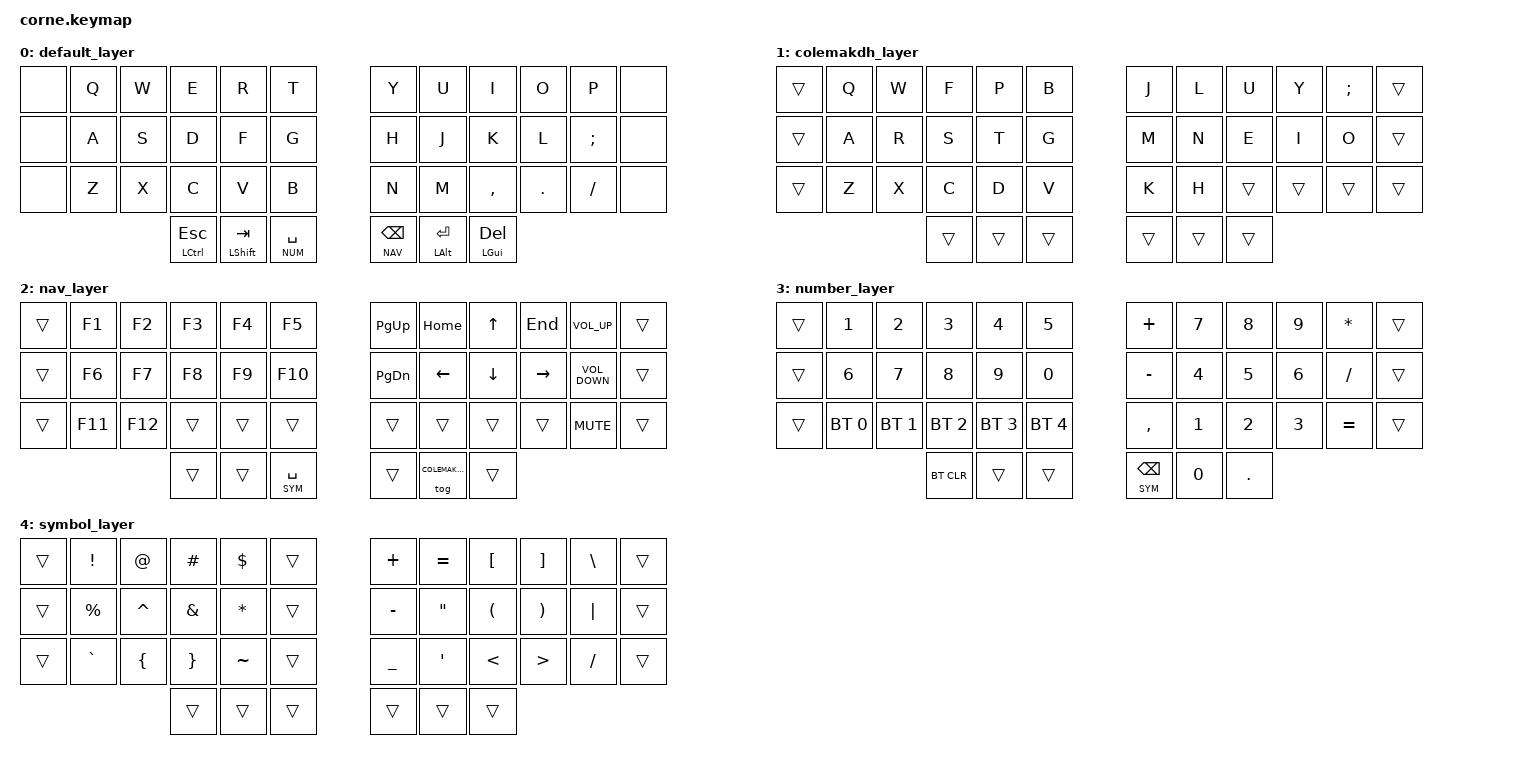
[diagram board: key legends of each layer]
/*
 * Copyright (c) 2020 The ZMK Contributors
 *
 * SPDX-License-Identifier: MIT
 */
#include <behaviors.dtsi>
#include <dt-bindings/zmk/bt.h>
#include <dt-bindings/zmk/keys.h>

// Layer definitions
#define BASE 0
#define COLEMAKDH 1 
#define NAV 2
#define NUM 3
#define SYM 4

/ {
    combos {
        compatible = "zmk,combos";
    };
    behaviors {
        hm: homerow_mods {
            compatible = "zmk,behavior-hold-tap";
            label = "HOMEROW_MODS";
            #binding-cells = <2>;
            tapping-term-ms = <200>;
            quick-tap-ms = <0>;
            flavor = "tap-preferred";
            bindings = <&kp>, <&kp>;
        };
    };
    keymap {
        compatible = "zmk,keymap";
        default_layer {
            bindings = <
   &none   &kp Q &kp W &kp E &kp R &kp T   &kp Y &kp U  &kp I     &kp O   &kp P    &none
   &none   &kp A &kp S &kp D &kp F &kp G   &kp H &kp J  &kp K     &kp L   &kp SEMI &none
   &none   &kp Z &kp X &kp C &kp V &kp B   &kp N &kp M  &kp COMMA &kp DOT &kp FSLH &none
      &hm LCTRL ESC &hm LSHIFT TAB &lt NUM SPACE    &lt NAV BSPC  &hm LALT RET &hm LGUI DEL
            >;
        };
        colemakdh_layer {
            bindings = <
&trans  &kp Q  &kp W  &kp F  &kp P  &kp B    &kp J  &kp L   &kp U     &kp Y      &kp SEMI &trans
&trans  &kp A  &kp R  &kp S  &kp T  &kp G    &kp M  &kp N   &kp E     &kp I      &kp O    &trans
&trans  &kp Z  &kp X  &kp C  &kp D  &kp V    &kp K  &kp H   &trans    &trans     &trans   &trans
                   &trans  &trans  &trans    &trans    &trans     &trans
            >;
        };
        nav_layer {
            bindings = <
&trans  &kp F1  &kp F2  &kp F3  &kp F4  &kp F5    &kp PG_UP &kp HOME   &kp UP    &kp END    &kp C_VOLUME_UP    &trans
&trans  &kp F6  &kp F7  &kp F8  &kp F9  &kp F10   &kp PG_DN &kp LEFT   &kp DOWN  &kp RIGHT  &kp C_VOLUME_DOWN  &trans
&trans  &kp F11 &kp F12 &trans  &trans  &trans    &trans    &trans     &trans    &trans     &kp C_MUTE         &trans
                        &trans  &trans  &lt SYM SPACE   &trans    &tog COLEMAKDH     &trans
            >;
        };
        number_layer {
            bindings = <
&trans  &kp N1        &kp N2        &kp N3        &kp N4       &kp N5          &kp PLUS  &kp N7  &kp N8  &kp N9  &kp ASTRK  &trans
&trans  &kp N6        &kp N7        &kp N8        &kp N9       &kp N0          &kp MINUS &kp N4  &kp N5  &kp N6  &kp SLASH  &trans
&trans  &bt BT_SEL 0  &bt BT_SEL 1  &bt BT_SEL 2  &bt BT_SEL 3 &bt BT_SEL 4    &kp COMMA &kp N1  &kp N2  &kp N3  &kp EQUAL  &trans
                        &bt BT_CLR  &trans  &trans    &lt SYM BSPC   &kp N0  &kp DOT
            >;
        };
        symbol_layer {
            bindings = <
&trans  &kp EXCL   &kp AT     &kp HASH  &kp DLLR  &trans    &kp PLUS  &kp EQUAL &kp LBKT  &kp RBKT  &kp BSLH  &trans
&trans  &kp PRCNT  &kp CARET  &kp AMPS  &kp ASTRK &trans    &kp MINUS &kp DQT   &kp LPAR  &kp RPAR  &kp PIPE  &trans
&trans  &kp GRAVE  &kp LBRC   &kp RBRC  &kp TILDE &trans    &kp UNDER &kp APOS  &kp LT    &kp GT    &kp SLASH &trans
                              &trans    &trans    &trans    &trans    &trans    &trans
            >;
        };
    };
};
